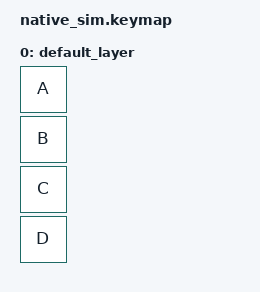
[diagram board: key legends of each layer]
/*
 * Regression fixture for src/test/kscan_mock_timing_test.c (see that file and
 * docs/validation.md for the full story): pins down zmk,kscan-mock's real
 * event-scheduling timing, discovered the hard way during Phase E hardware
 * validation. `exit-after` is deleted so the test process controls its own
 * lifetime (same pitfall/fix as tests/test.dtsi -- run-test.sh has no
 * timeout of its own, so something must call exit()).
 *
 * Event script (DT delay values only, encoding in
 * dt-bindings/zmk/kscan_mock.h): kscan_mock_work_handler fires
 * events[event_index] and calls kscan_mock_schedule_next_event(dev) *before*
 * incrementing event_index, so that call re-reads the just-fired event's own
 * delay to arm the timer for the *next* event. Net effect: events[0]'s delay
 * is consumed twice (T[0] itself, and again for T[1]-T[0]), and
 * events[i].delay for i>=1 controls the wait before event i+1 (not event i).
 * With the delays below (50, 10, 40, 0 -- the last one is never consumed,
 * value irrelevant), the *actual* firing times are
 * T = [50, 100, 110, 150], i.e. hold1=50ms, repress_gap=10ms, hold2=40ms.
 * A "naive" (wrong) reading of the DT array where each event's own delay is
 * the wait before *that* event would instead predict T = [50, 60, 100, 100]
 * (hold1=10ms, repress_gap=40ms, hold2=0ms) -- the two models are
 * distinguishable, which is exactly what the test asserts against.
 */
#include <dt-bindings/zmk/keys.h>
#include <behaviors.dtsi>
#include <dt-bindings/zmk/kscan_mock.h>

/ {
	keymap {
		compatible = "zmk,keymap";

		default_layer {
			bindings = <
			&kp A
			&kp B
			&kp C
			&kp D
			>;
		};
	};
};

&kscan {
	/delete-property/ exit-after;
	events = <
	ZMK_MOCK_PRESS(0,0,50)
	ZMK_MOCK_RELEASE(0,0,10)
	ZMK_MOCK_PRESS(0,0,40)
	ZMK_MOCK_RELEASE(0,0,0)
	>;
};
